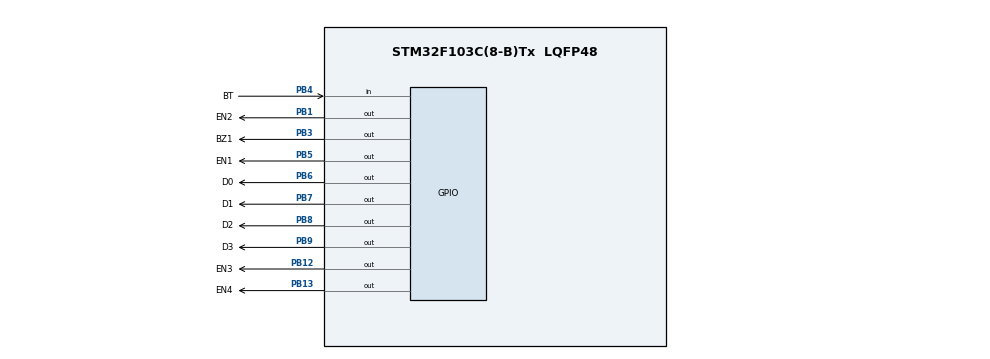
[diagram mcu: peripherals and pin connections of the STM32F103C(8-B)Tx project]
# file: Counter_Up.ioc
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Mcu.Family=STM32F1
Mcu.Name=STM32F103C(8-B)Tx
Mcu.Package=LQFP48
NVIC.PriorityGroup=NVIC_PRIORITYGROUP_4
PA13.Mode=Serial_Wire
PA13.Signal=SYS_JTMS-SWDIO
PA14.Mode=Serial_Wire
PA14.Signal=SYS_JTCK-SWCLK
PB1.GPIO_Label=EN2
PB1.Signal=GPIO_Output
PB12.GPIO_Label=EN3
PB12.Signal=GPIO_Output
PB13.GPIO_Label=EN4
PB13.Signal=GPIO_Output
PB3.GPIO_Label=BZ1
PB3.Signal=GPIO_Output
PB4.GPIO_Label=BT
PB4.GPIO_PuPd=GPIO_PULLUP
PB4.Signal=GPIO_Input
PB5.GPIO_Label=EN1
PB5.GPIO_PuPd=GPIO_PULLDOWN
PB5.Signal=GPIO_Output
PB6.GPIO_Label=D0
PB6.Signal=GPIO_Output
PB7.GPIO_Label=D1
PB7.Signal=GPIO_Output
PB8.GPIO_Label=D2
PB8.Signal=GPIO_Output
PB9.GPIO_Label=D3
PB9.Signal=GPIO_Output
ProjectManager.HeapSize=0x200
ProjectManager.StackSize=0x400
ProjectManager.TargetToolchain=STM32CubeIDE
RCC.APB1Freq_Value=8000000
RCC.APB2Freq_Value=8000000
board=custom

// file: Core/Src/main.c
/* USER CODE BEGIN Header */
/**
  ******************************************************************************
  * @file           : main.c
  * @brief          : Main program body
  ******************************************************************************
  * @attention
  *
  * Copyright (c) 2023 STMicroelectronics.
  * All rights reserved.
  *
  * This software is licensed under terms that can be found in the LICENSE file
  * in the root directory of this software component.
  * If no LICENSE file comes with this software, it is provided AS-IS.
  *
  ******************************************************************************
  */
/* USER CODE END Header */
#include "main.h"

/* USER CODE BEGIN Includes */
#include <stdbool.h>
/* USER CODE END Includes */

/* USER CODE BEGIN PV */
	unsigned int contagem;
	bool counter1;
/* USER CODE END PV */

void SystemClock_Config(void);
static void MX_GPIO_Init(void);

int main(void)
{

  /* MCU Configuration--------------------------------------------------------*/

  /* Reset of all peripherals, Initializes the Flash interface and the Systick. */
  HAL_Init();

  /* Configure the system clock */
  SystemClock_Config();

  /* Initialize all configured peripherals */
  MX_GPIO_Init();
  /* USER CODE BEGIN 2 */
	while (contagem <= 250)
	{
		HAL_GPIO_WritePin(EN1_GPIO_Port, EN1_Pin, GPIO_PIN_SET);
		HAL_GPIO_WritePin(EN2_GPIO_Port, EN2_Pin, GPIO_PIN_RESET);
		HAL_GPIO_WritePin(EN2_GPIO_Port, EN3_Pin, GPIO_PIN_RESET);
		HAL_GPIO_WritePin(EN2_GPIO_Port, EN4_Pin, GPIO_PIN_RESET);
		HAL_GPIO_WritePin(D3_GPIO_Port, D3_Pin, GPIO_PIN_RESET);
		HAL_GPIO_WritePin(D3_GPIO_Port, D2_Pin, GPIO_PIN_SET);
		HAL_GPIO_WritePin(D3_GPIO_Port, D1_Pin, GPIO_PIN_RESET);
		HAL_GPIO_WritePin(D3_GPIO_Port, D0_Pin, GPIO_PIN_SET);
		HAL_Delay(1);

		HAL_GPIO_WritePin(EN1_GPIO_Port, EN1_Pin, GPIO_PIN_RESET);
		HAL_GPIO_WritePin(EN2_GPIO_Port, EN2_Pin, GPIO_PIN_SET);
		HAL_GPIO_WritePin(EN2_GPIO_Port, EN3_Pin, GPIO_PIN_RESET);
		HAL_GPIO_WritePin(EN2_GPIO_Port, EN4_Pin, GPIO_PIN_RESET);
		HAL_GPIO_WritePin(D3_GPIO_Port, D3_Pin, GPIO_PIN_RESET);
		HAL_GPIO_WritePin(D3_GPIO_Port, D2_Pin, GPIO_PIN_RESET);
		HAL_GPIO_WritePin(D3_GPIO_Port, D1_Pin, GPIO_PIN_RESET);
		HAL_GPIO_WritePin(D3_GPIO_Port, D0_Pin, GPIO_PIN_SET);
		HAL_Delay(1);

		HAL_GPIO_WritePin(EN1_GPIO_Port, EN1_Pin, GPIO_PIN_RESET);
		HAL_GPIO_WritePin(EN2_GPIO_Port, EN2_Pin, GPIO_PIN_RESET);
		HAL_GPIO_WritePin(EN2_GPIO_Port, EN3_Pin, GPIO_PIN_SET);
		HAL_GPIO_WritePin(EN2_GPIO_Port, EN4_Pin, GPIO_PIN_RESET);
		HAL_GPIO_WritePin(D3_GPIO_Port, D3_Pin, GPIO_PIN_RESET);
		HAL_GPIO_WritePin(D3_GPIO_Port, D2_Pin, GPIO_PIN_RESET);
		HAL_GPIO_WritePin(D3_GPIO_Port, D1_Pin, GPIO_PIN_SET);
		HAL_GPIO_WritePin(D3_GPIO_Port, D0_Pin, GPIO_PIN_RESET);
		HAL_Delay(1);

		HAL_GPIO_WritePin(EN1_GPIO_Port, EN1_Pin, GPIO_PIN_RESET);
		HAL_GPIO_WritePin(EN2_GPIO_Port, EN2_Pin, GPIO_PIN_RESET);
		HAL_GPIO_WritePin(EN2_GPIO_Port, EN3_Pin, GPIO_PIN_RESET);
		HAL_GPIO_WritePin(EN2_GPIO_Port, EN4_Pin, GPIO_PIN_SET);
		HAL_GPIO_WritePin(D3_GPIO_Port, D3_Pin, GPIO_PIN_RESET);
		HAL_GPIO_WritePin(D3_GPIO_Port, D2_Pin, GPIO_PIN_RESET);
		HAL_GPIO_WritePin(D3_GPIO_Port, D1_Pin, GPIO_PIN_RESET);
		HAL_GPIO_WritePin(D3_GPIO_Port, D0_Pin, GPIO_PIN_SET);
		HAL_Delay(1);

		contagem = contagem + 1;

		if (contagem == 250)
		{
			HAL_GPIO_WritePin(EN1_GPIO_Port, EN1_Pin, GPIO_PIN_SET);
			HAL_GPIO_WritePin(EN2_GPIO_Port, EN2_Pin, GPIO_PIN_RESET);
			HAL_GPIO_WritePin(EN2_GPIO_Port, EN3_Pin, GPIO_PIN_RESET);
			HAL_GPIO_WritePin(EN2_GPIO_Port, EN4_Pin, GPIO_PIN_RESET);
			HAL_GPIO_WritePin(D3_GPIO_Port, D3_Pin, GPIO_PIN_RESET);
			HAL_GPIO_WritePin(D3_GPIO_Port, D2_Pin, GPIO_PIN_SET);
			HAL_GPIO_WritePin(D3_GPIO_Port, D1_Pin, GPIO_PIN_SET);
			HAL_GPIO_WritePin(D3_GPIO_Port, D0_Pin, GPIO_PIN_RESET);
			HAL_Delay(1);

			HAL_GPIO_WritePin(EN1_GPIO_Port, EN1_Pin, GPIO_PIN_RESET);
			HAL_GPIO_WritePin(EN2_GPIO_Port, EN2_Pin, GPIO_PIN_SET);
			HAL_GPIO_WritePin(EN2_GPIO_Port, EN3_Pin, GPIO_PIN_RESET);
			HAL_GPIO_WritePin(EN2_GPIO_Port, EN4_Pin, GPIO_PIN_RESET);
			HAL_GPIO_WritePin(D3_GPIO_Port, D3_Pin, GPIO_PIN_RESET);
			HAL_GPIO_WritePin(D3_GPIO_Port, D2_Pin, GPIO_PIN_RESET);
			HAL_GPIO_WritePin(D3_GPIO_Port, D1_Pin, GPIO_PIN_RESET);
			HAL_GPIO_WritePin(D3_GPIO_Port, D0_Pin, GPIO_PIN_SET);
			HAL_Delay(1);

			HAL_GPIO_WritePin(EN1_GPIO_Port, EN1_Pin, GPIO_PIN_RESET);
			HAL_GPIO_WritePin(EN2_GPIO_Port, EN2_Pin, GPIO_PIN_RESET);
			HAL_GPIO_WritePin(EN2_GPIO_Port, EN3_Pin, GPIO_PIN_SET);
			HAL_GPIO_WritePin(EN2_GPIO_Port, EN4_Pin, GPIO_PIN_RESET);
			HAL_GPIO_WritePin(D3_GPIO_Port, D3_Pin, GPIO_PIN_RESET);
			HAL_GPIO_WritePin(D3_GPIO_Port, D2_Pin, GPIO_PIN_RESET);
			HAL_GPIO_WritePin(D3_GPIO_Port, D1_Pin, GPIO_PIN_SET);
			HAL_GPIO_WritePin(D3_GPIO_Port, D0_Pin, GPIO_PIN_RESET);
			HAL_Delay(1);

			HAL_GPIO_WritePin(EN1_GPIO_Port, EN1_Pin, GPIO_PIN_RESET);
			HAL_GPIO_WritePin(EN2_GPIO_Port, EN2_Pin, GPIO_PIN_RESET);
			HAL_GPIO_WritePin(EN2_GPIO_Port, EN3_Pin, GPIO_PIN_RESET);
			HAL_GPIO_WritePin(EN2_GPIO_Port, EN4_Pin, GPIO_PIN_SET);
			HAL_GPIO_WritePin(D3_GPIO_Port, D3_Pin, GPIO_PIN_RESET);
			HAL_GPIO_WritePin(D3_GPIO_Port, D2_Pin, GPIO_PIN_RESET);
			HAL_GPIO_WritePin(D3_GPIO_Port, D1_Pin, GPIO_PIN_RESET);
			HAL_GPIO_WritePin(D3_GPIO_Port, D0_Pin, GPIO_PIN_SET);
			HAL_Delay(1);

		}
	}
	contagem = 0;
	counter1 = 0;
  /* USER CODE END 2 */

  /* Infinite loop */
  while (1)
  {
  }

}

void SystemClock_Config(void)
{
  RCC_OscInitTypeDef RCC_OscInitStruct = {0};
  RCC_ClkInitTypeDef RCC_ClkInitStruct = {0};

  /** Initializes the RCC Oscillators according to the specified parameters
  * in the RCC_OscInitTypeDef structure.
  */
  RCC_OscInitStruct.OscillatorType = RCC_OSCILLATORTYPE_HSI;
  RCC_OscInitStruct.HSIState = RCC_HSI_ON;
  RCC_OscInitStruct.HSICalibrationValue = RCC_HSICALIBRATION_DEFAULT;
  RCC_OscInitStruct.PLL.PLLState = RCC_PLL_NONE;
  if (HAL_RCC_OscConfig(&RCC_OscInitStruct) != HAL_OK)
  {
    Error_Handler();
  }

  /** Initializes the CPU, AHB and APB buses clocks
  */
  RCC_ClkInitStruct.ClockType = RCC_CLOCKTYPE_HCLK|RCC_CLOCKTYPE_SYSCLK
                              |RCC_CLOCKTYPE_PCLK1|RCC_CLOCKTYPE_PCLK2;
  RCC_ClkInitStruct.SYSCLKSource = RCC_SYSCLKSOURCE_HSI;
  RCC_ClkInitStruct.AHBCLKDivider = RCC_SYSCLK_DIV1;
  RCC_ClkInitStruct.APB1CLKDivider = RCC_HCLK_DIV1;
  RCC_ClkInitStruct.APB2CLKDivider = RCC_HCLK_DIV1;

  if (HAL_RCC_ClockConfig(&RCC_ClkInitStruct, FLASH_LATENCY_0) != HAL_OK)
  {
    Error_Handler();
  }
}

static void MX_GPIO_Init(void)
{
  GPIO_InitTypeDef GPIO_InitStruct = {0};

  /* GPIO Ports Clock Enable */
  __HAL_RCC_GPIOB_CLK_ENABLE();
  __HAL_RCC_GPIOA_CLK_ENABLE();

  /*Configure GPIO pin Output Level */
  HAL_GPIO_WritePin(GPIOB, EN2_Pin|EN3_Pin|EN4_Pin|BZ1_Pin
                          |EN1_Pin|D0_Pin|D1_Pin|D2_Pin
                          |D3_Pin, GPIO_PIN_RESET);

  /*Configure GPIO pins : EN2_Pin EN3_Pin EN4_Pin BZ1_Pin
                           D0_Pin D1_Pin D2_Pin D3_Pin */
  GPIO_InitStruct.Pin = EN2_Pin|EN3_Pin|EN4_Pin|BZ1_Pin
                          |D0_Pin|D1_Pin|D2_Pin|D3_Pin;
  GPIO_InitStruct.Mode = GPIO_MODE_OUTPUT_PP;
  GPIO_InitStruct.Pull = GPIO_NOPULL;
  GPIO_InitStruct.Speed = GPIO_SPEED_FREQ_LOW;
  HAL_GPIO_Init(GPIOB, &GPIO_InitStruct);

  /*Configure GPIO pin : BT_Pin */
  GPIO_InitStruct.Pin = BT_Pin;
  GPIO_InitStruct.Mode = GPIO_MODE_INPUT;
  GPIO_InitStruct.Pull = GPIO_PULLUP;
  HAL_GPIO_Init(BT_GPIO_Port, &GPIO_InitStruct);

  /*Configure GPIO pin : EN1_Pin */
  GPIO_InitStruct.Pin = EN1_Pin;
  GPIO_InitStruct.Mode = GPIO_MODE_OUTPUT_PP;
  GPIO_InitStruct.Pull = GPIO_PULLDOWN;
  GPIO_InitStruct.Speed = GPIO_SPEED_FREQ_LOW;
  HAL_GPIO_Init(EN1_GPIO_Port, &GPIO_InitStruct);

}

void Error_Handler(void)
{
  __disable_irq();
  while (1)
  {
  }
}
